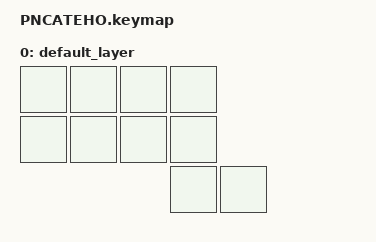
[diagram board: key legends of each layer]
/*
 * Copyright (c) 2020 The ZMK Contributors
 *
 * SPDX-License-Identifier: MIT
 */

#include <behaviors.dtsi>
#include <dt-bindings/zmk/bt.h>
#include <dt-bindings/zmk/keys.h>
#include <dt-bindings/zmk/outputs.h>
#include <dt-bindings/zmk/ext_power.h>

// CONFIG
#define COMBO_TIMEOUT 70
#define COMBO_LAYERS 0
#define STICKY_TIMEOUT 500

&sk {
    release-after-ms = <STICKY_TIMEOUT>;
    quick-release;
};

/ {
  combos {
    compatible = "zmk,combos";
  };

  keymap {
    compatible = "zmk,keymap";

    default_layer {
      bindings = <
        &none &none &none &none
        &none &none &none &none
                          &none &none
      >;
    };
  };
};
